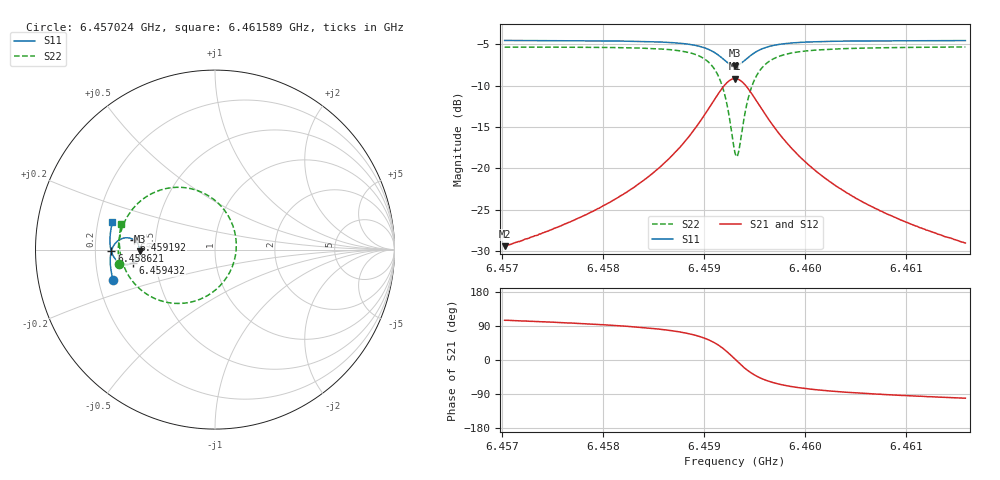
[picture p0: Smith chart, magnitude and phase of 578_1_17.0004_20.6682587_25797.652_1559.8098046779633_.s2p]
#  HZ  S  RI  R  50.00
! Rohde & Schwarz Vector Network Analyzer
! Rohde-Schwarz,ZNB20-2Port,1311601062101988,3.16
! Created: UTC 3/20/2024, 11:18:00 PM
! freq[Hz]  re:S11  im:S11  re:S21  im:S21  re:S12  im:S12  re:S22  im:S22
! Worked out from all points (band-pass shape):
!   401 points, 6.457024 GHz to 6.461589 GHz, reference 50 ohm
!   highest |S21| = -9.15 dB at 6.459306 GHz (marker M1); lowest = -29.4 dB at 6.457024 GHz (marker M2)
!   |S21| within 3 dB of the highest: 6.459078 GHz to 6.459535 GHz (456.9 kHz wide, 0.00707 % of centre)
!   lowest |S11| = -7.6 dB at 6.459306 GHz (marker M3), VSWR 2.43, Z = 20.6 - j0.428 ohm
!   |S11| at or under -10 dB: nowhere
!   |S22| runs from -18.6 to -5.3 dB; largest |S21 - S12| = 0.014
!   S11 on the Smith chart (normalised r, x): 6.457024 GHz: 0.26, -0.14; 6.458621 GHz: 0.27, -0.01; 6.459192 GHz: 0.37, +0.05; 6.459432 GHz: 0.37, -0.07; 6.461589 GHz: 0.26, +0.12
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6.4570236e9  -0.5677 -0.1686  -0.00871 0.0328  -0.00703 0.0328  -0.5336 -0.0806
6.4577883e9  -0.5813 -0.1015  -0.00543 0.0508  -0.00284 0.0502  -0.5384 0.00955
6.458222e9  -0.5838 -0.0578  0.000928 0.0712  0.00445 0.0698  -0.5293 0.0793
6.458553e9  -0.5799 -0.0179  0.0149 0.0994  0.0189 0.0966  -0.5036 0.155
6.4586215e9  -0.5775 -0.00841  0.0203 0.1079  0.0244 0.1047  -0.4934 0.1751
6.4588155e9  -0.5648 0.022  0.0471 0.1389  0.0512 0.1339  -0.4429 0.2445
6.4589639e9  -0.5418 0.0482  0.0929 0.1695  0.0961 0.1627  -0.3584 0.3089
6.4591008e9  -0.4976 0.0657  0.1808 0.1858  0.1817 0.1785  -0.1975 0.3471
6.4591921e9  -0.4527 0.0551  0.2714 0.154  0.2715 0.1483  -0.0297 0.2956
6.4592606e9  -0.4235 0.0228  0.3321 0.0815  0.3343 0.0761  0.0865 0.1644
6.4593063e9  -0.4166 -0.00859  0.3483 0.0129  0.3522 0.00597  0.1185 0.0361
6.4593405e9  -0.4207 -0.0324  0.3425 -0.0399  0.3463 -0.0492  0.1066 -0.0646
6.4593862e9  -0.4364 -0.0588  0.3135 -0.1002  0.3157 -0.1125  0.0478 -0.1788
6.4594318e9  -0.4587 -0.0751  0.2708 -0.1417  0.2701 -0.1551  -0.0385 -0.2542
6.4594775e9  -0.4817 -0.0821  0.2259 -0.1641  0.222 -0.1773  -0.1289 -0.2912
6.4595231e9  -0.5023 -0.0821  0.1852 -0.1727  0.1788 -0.1845  -0.2097 -0.2999
6.4596715e9  -0.5466 -0.0614  0.0966 -0.1584  0.0879 -0.1647  -0.3787 -0.2493
6.4598313e9  -0.5683 -0.0337  0.0514 -0.13  0.0435 -0.1329  -0.4595 -0.1761
6.460071e9  -0.5808 0.00192  0.022 -0.0981  0.0162 -0.0987  -0.5076 -0.093
6.4604248e9  -0.5854 0.0439  0.00582 -0.0703  0.00163 -0.0699  -0.5292 -0.0112
6.4608356e9  -0.5835 0.0854  -0.00171 -0.0523  -0.00455 -0.0514  -0.533 0.0549
6.4615889e9  -0.5713 0.1523  -0.00666 -0.0348  -0.00838 -0.0339  -0.5214 0.1446
